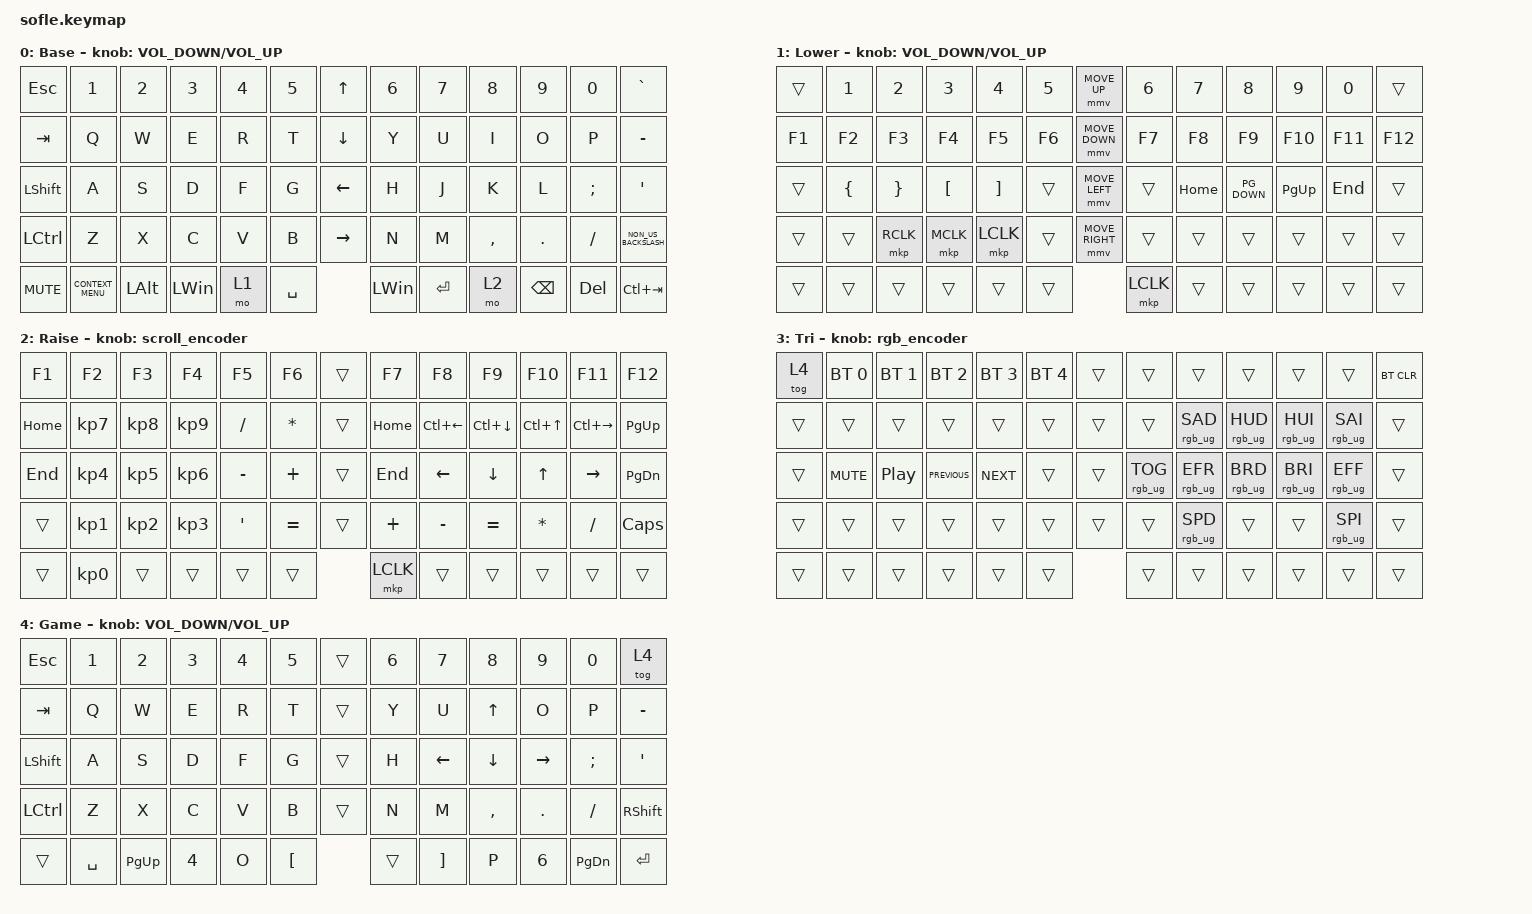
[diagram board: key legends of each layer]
#define ZMK_MOUSE_DEFAULT_SCRL_VAL 35 // 10

#include <behaviors/mouse_keys.dtsi>
#include <behaviors.dtsi>
#include <dt-bindings/zmk/bt.h>
#include <dt-bindings/zmk/keys.h>
#include <dt-bindings/zmk/mouse.h>
#include <dt-bindings/zmk/rgb.h>

&msc {
    acceleration-exponent = <0>;      // 0
    time-to-max-speed-ms = <0>;       // 300
    delay-ms = <0>;                   // 0
};

&mmv {
    time-to-max-speed-ms = <400>;
    acceleration-exponent = <1>;
};

/ {
    behaviors {
        rgb_encoder: rgb_encoder {
            compatible = "zmk,behavior-sensor-rotate";
            label = "RGB_ENCODER";
            #sensor-binding-cells = <0>;
            bindings = <&rgb_ug RGB_BRD>, <&rgb_ug RGB_BRI>;
        };

        scroll_encoder: scroll_encoder {
            compatible = "zmk,behavior-sensor-rotate";
            #sensor-binding-cells = <0>;
            bindings = <&msc SCRL_DOWN>, <&msc SCRL_UP>;

            tap-ms = <30>;
        };
    };

    keymap {
        compatible = "zmk,keymap";

        Base {
            bindings = <
&kp ESCAPE        &kp N1  &kp N2              &kp N3        &kp N4        &kp N5             &kp UP_ARROW                     &kp N6        &kp N7         &kp N8           &kp N9       &kp N0         &kp GRAVE
&kp TAB           &kp Q   &kp W               &kp E         &kp R         &kp T              &kp DOWN_ARROW                   &kp Y         &kp U          &kp I            &kp O        &kp P          &kp MINUS
&kp LEFT_SHIFT    &kp A   &kp S               &kp D         &kp F         &kp G              &kp LEFT_ARROW                   &kp H         &kp J          &kp K            &kp L        &kp SEMICOLON  &kp SQT
&kp LEFT_CONTROL  &kp Z   &kp X               &kp C         &kp V         &kp B              &kp RIGHT_ARROW                  &kp N         &kp M          &kp COMMA        &kp DOT      &kp FSLH       &kp NON_US_BACKSLASH
&kp C_MUTE                &kp K_CONTEXT_MENU  &kp LEFT_ALT  &kp LEFT_WIN  &mo 1   &kp SPACE  &kp LEFT_WIN       &kp ENTER     &mo 2         &kp BACKSPACE  &kp DELETE       &kp LC(TAB)
            >;

            sensor-bindings = <&inc_dec_kp C_VOLUME_DOWN C_VOLUME_UP>;
            display-name = "Base";
        };

        Lower {
            bindings = <
&trans  &kp N1          &kp N2           &kp N3     &kp N4     &kp N5           &mmv MOVE_UP            &kp N6  &kp N7    &kp N8         &kp N9         &kp N0   &trans
&kp F1  &kp F2          &kp F3           &kp F4     &kp F5     &kp F6           &mmv MOVE_DOWN          &kp F7  &kp F8    &kp F9         &kp F10        &kp F11  &kp F12
&trans  &kp LEFT_BRACE  &kp RIGHT_BRACE  &kp LBKT   &kp RBKT   &trans           &mmv MOVE_LEFT          &trans  &kp HOME  &kp PG_DOWN    &kp PAGE_UP    &kp END  &trans
&trans  &trans          &mkp RCLK        &mkp MCLK  &mkp LCLK  &trans           &mmv MOVE_RIGHT         &trans  &trans    &trans         &trans         &trans   &trans
&trans                  &trans           &trans     &trans     &trans  &trans   &mkp LCLK       &trans  &trans  &trans    &trans         &trans
            >;

            sensor-bindings = <&inc_dec_kp C_VOLUME_DOWN C_VOLUME_UP>;
            display-name = "Lower";
        };

        Raise {
            bindings = <
&kp F1    &kp F2           &kp F3           &kp F4           &kp F5     &kp F6                  &trans                  &kp F7    &kp F8        &kp F9        &kp F10           &kp F11        &kp F12
&kp HOME  &kp KP_NUMBER_7  &kp KP_N8        &kp KP_NUMBER_9  &kp SLASH  &kp ASTERISK            &trans                  &kp HOME  &kp LC(LEFT)  &kp LC(DOWN)  &kp LC(UP_ARROW)  &kp LC(RIGHT)  &kp PG_UP
&kp END   &kp KP_N4        &kp KP_N5        &kp KP_N6        &kp MINUS  &kp PLUS                &trans                  &kp END   &kp LEFT      &kp DOWN      &kp UP_ARROW      &kp RIGHT      &kp PAGE_DOWN
&trans    &kp KP_N1        &kp KP_N2        &kp KP_N3        &kp SQT    &kp EQUAL               &trans                  &kp PLUS  &kp MINUS     &kp EQUAL     &kp ASTERISK      &kp SLASH      &kp CAPSLOCK
&trans                     &kp KP_NUMBER_0  &trans           &trans     &trans        &trans    &mkp LCLK   &trans      &trans    &trans        &trans        &trans
            >;

            sensor-bindings = <&scroll_encoder>;
            display-name = "Raise";
        };

        Tri {
            bindings = <
&tog 4  &bt BT_SEL 0  &bt BT_SEL 1      &bt BT_SEL 2    &bt BT_SEL 3  &bt BT_SEL 4              &trans                       &trans           &trans           &trans           &trans           &trans           &bt BT_CLR
&trans  &trans        &trans            &trans          &trans        &trans                    &trans                       &trans           &rgb_ug RGB_SAD  &rgb_ug RGB_HUD  &rgb_ug RGB_HUI  &rgb_ug RGB_SAI  &trans
&trans  &kp C_MUTE    &kp C_PLAY_PAUSE  &kp C_PREVIOUS  &kp C_NEXT    &trans                    &trans                       &rgb_ug RGB_TOG  &rgb_ug RGB_EFR  &rgb_ug RGB_BRD  &rgb_ug RGB_BRI  &rgb_ug RGB_EFF  &trans
&trans  &trans        &trans            &trans          &trans        &trans                    &trans                       &trans           &rgb_ug RGB_SPD  &trans           &trans           &rgb_ug RGB_SPI  &trans
&trans                &trans            &trans          &trans        &trans        &trans      &trans      &trans           &trans           &trans           &trans           &trans
            >;

            sensor-bindings = <&rgb_encoder>;
            display-name = "Tri";
        };

        Game {
            bindings = <
&kp ESC    &kp N1  &kp N2     &kp N3       &kp N4        &kp N5                     &trans            &kp N6  &kp N7        &kp N8         &kp N9     &kp N0    &tog 4
&kp TAB    &kp Q   &kp W      &kp E        &kp R         &kp T                      &trans            &kp Y   &kp U         &kp UP_ARROW   &kp O      &kp P     &kp MINUS
&kp LSHFT  &kp A   &kp S      &kp D        &kp F         &kp G                      &trans            &kp H   &kp LEFT      &kp DOWN       &kp RIGHT  &kp SEMI  &kp APOS
&kp LCTRL  &kp Z   &kp X      &kp C        &kp V         &kp B                      &trans            &kp N   &kp M         &kp COMMA      &kp DOT    &kp FSLH  &kp RSHFT
&trans             &kp SPACE  &kp PAGE_UP  &kp NUMBER_4  &kp O   &kp LEFT_BRACKET   &trans  &kp RBKT  &kp P   &kp NUMBER_6  &kp PAGE_DOWN  &kp ENTER
            >;

            sensor-bindings = <&inc_dec_kp C_VOLUME_DOWN C_VOLUME_UP>;
            display-name = "Game";
        };
    };

    conditional_layers {
        compatible = "zmk,conditional-layers";

        Flash {
            if-layers = <1 2>;
            then-layer = <3>;
        };
    };
};
